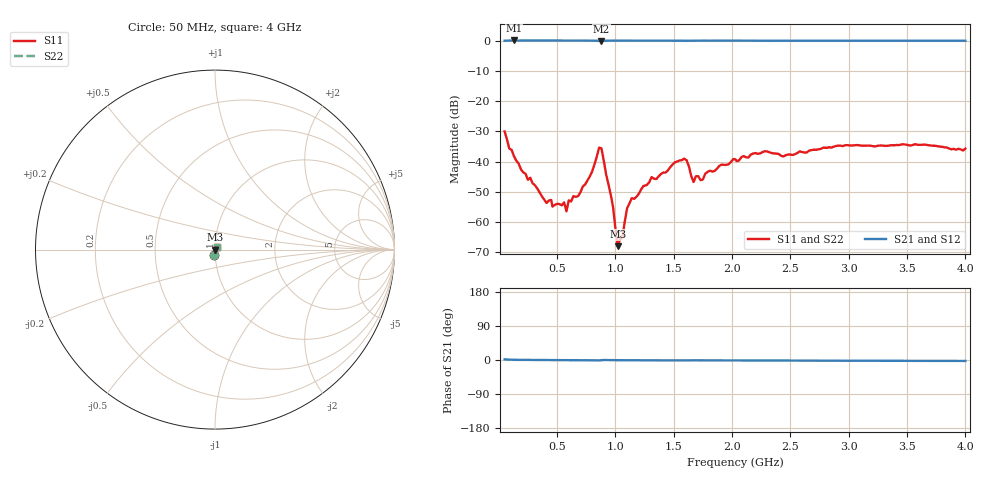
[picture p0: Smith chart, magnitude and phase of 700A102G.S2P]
!  American Technical Ceramics  Date:  3/13/98
!  One Norden Lane
!  Huntington Station,  NY.  11746-2102
!  Tel:  (516) 547-5700  Fax:  (516) 547-5748
!  Part Number  700A102G
!  Description: Porcelain, High Q, Low ESR
!  Application: Bypass, Coupling, Timing, Feedback
!  Tuning, Impedance Match, Blocking
# GHZ S DB R 50
! Freq  |S11|  S11 Ph  |S21|  S21 Ph  |S12|  S12 Ph  |S22|  S22 Ph
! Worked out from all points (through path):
!   201 points, 50 MHz to 4 GHz, reference 50 ohm
!   highest |S21| = 0.04 dB at 130 MHz (marker M1); lowest = -0.1 dB at 880 MHz (marker M2)
!   lowest |S11| = -67.9 dB at 1.02 GHz (marker M3), VSWR 1.00, Z = 50 + j0.011 ohm
!   |S11| at or under -10 dB: start of sweep to end of sweep
!   |S22| runs from -67.9 to -30.0 dB; largest |S21 - S12| = 0
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0.05  -30.02 -96.9  -0.04 1.8  -0.04 1.8  -30.02 -96.9
0.13  -38.20 -100.5  0.04 0.5  0.04 0.5  -38.20 -100.5
0.46  -54.88 -167.9  0.01 -0.2  0.01 -0.2  -54.88 -167.9
0.56  -53.46 146.9  0.00 -0.2  0.00 -0.2  -53.46 146.9
0.58  -56.42 143.8  0.00 -0.4  0.00 -0.4  -56.42 143.8
0.6  -52.81 151.0  0.00 -0.4  0.00 -0.4  -52.81 151.0
0.72  -48.23 108.0  0.00 -0.7  0.00 -0.7  -48.23 108.0
0.8  -43.29 84.2  -0.01 -0.8  -0.01 -0.8  -43.29 84.2
0.86  -35.37 32.5  -0.13 -1.1  -0.13 -1.1  -35.37 32.5
0.88  -35.62 -12.1  -0.15 -0.4  -0.15 -0.4  -35.62 -12.1
0.98  -55.06 -99.2  -0.01 -0.4  -0.01 -0.4  -55.06 -99.2
1.02  -67.94 164.1  0.00 -0.5  0.00 -0.5  -67.94 164.1
1.06  -65.20 117.8  0.00 -0.5  0.00 -0.5  -65.20 117.8
1.1  -55.43 113.7  0.00 -0.7  0.00 -0.7  -55.43 113.7
1.14  -52.08 102.2  0.00 -0.6  0.00 -0.6  -52.08 102.2
1.37  -44.90 88.1  -0.01 -0.8  -0.01 -0.8  -44.90 88.1
1.59  -39.02 43.3  -0.07 -1.0  -0.07 -1.0  -39.02 43.3
1.67  -46.75 45.9  -0.04 -0.9  -0.04 -0.9  -46.75 45.9
2.03  -39.26 66.0  0.00 -1.4  0.00 -1.4  -39.26 66.0
2.7  -36.06 63.7  -0.04 -1.7  -0.04 -1.7  -36.06 63.7
3.35  -34.64 58.8  -0.04 -2.1  -0.04 -2.1  -34.64 58.8
4  -35.69 49.9  -0.05 -2.5  -0.05 -2.5  -35.69 49.9
